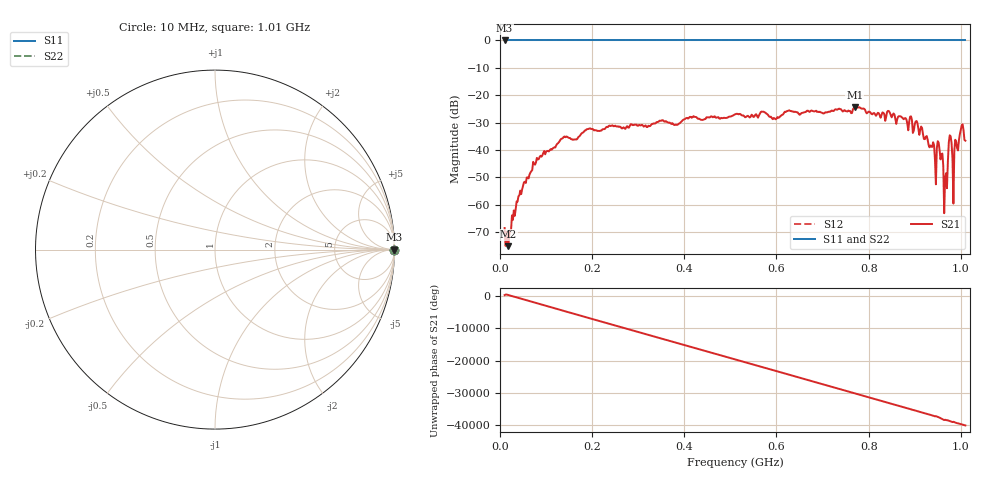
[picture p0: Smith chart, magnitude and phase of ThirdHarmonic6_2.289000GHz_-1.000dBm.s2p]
! 8/17/2025 3:01:38 AM
! C:\ANRITSUVNA\TEMP\TEMP.S2P
! CHANNEL.1
! TR.MEASUREMENT
! RAW.DATA
! RF.CORRECTION.OFF
! AVERAGING.OFF
! IF.BANDWIDTH: 5KHZ
! SWEEPTYPE:  FREQ.SWEEP(Linear)
! Reference Plane Port Info
! PORT:  PORT1  PORT2
! DISTANCE:  0  m  0  m
! TIME:  0  s  0  s
! PHASE.OFFSET:  0  deg.  0  deg.
! LOSS:  0  dB  0  dB
! REF.LOSS:  0  dB  0  dB
! REF.FREQ:  0  Hz  0  Hz
! Power Info
! POWER:  -20  dBm  -20  dBm
! EFF.POWER:  -20  dBm  -20  dBm
! SOURCE.ATTEN:  0  dB  0  dB
! TEST.ATTEN:  0  dB  0  dB
# GHZ S RI R 50.0
! FREQ.GHZ  S11RE  S11IM  S21RE  S21IM  S12RE  S12IM  S22RE  S22IM
!; PortSelection: Port_12
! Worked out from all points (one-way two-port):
!   501 points, 10 MHz to 1.01 GHz, reference 50 ohm
!   highest |S21| = -24.32 dB at 770 MHz (marker M1); lowest = -75.2 dB at 18 MHz (marker M2)
!   lowest |S11| = 0.0 dB at 10 MHz (marker M3)
!   |S11| at or under -10 dB: nowhere
!   |S22| runs from 0.0 to 0.0 dB; largest |S21 - S12| = 1.1
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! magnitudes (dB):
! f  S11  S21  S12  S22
! 10 MHz  0.0  -68.6  0.0  0.0
! 18 MHz  0.0  -75.2  0.0  0.0
! 40 MHz  0.0  -57.0  0.0  0.0
! 76 MHz  0.0  -45.4  0.0  0.0
! 136 MHz  0.0  -35.7  0.0  0.0
! 178 MHz  0.0  -33.8  0.0  0.0
! 344 MHz  0.0  -29.7  0.0  0.0
! 510 MHz  0.0  -27.0  0.0  0.0
! 678 MHz  0.0  -25.8  0.0  0.0
! 770 MHz  0.0  -24.3  0.0  0.0
! 844 MHz  0.0  -25.8  0.0  0.0
! 904 MHz  0.0  -29.4  0.0  0.0
! 938 MHz  0.0  -38.9  0.0  0.0
! 942 MHz  0.0  -38.2  0.0  0.0
! 952 MHz  0.0  -37.4  0.0  0.0
! 958 MHz  0.0  -41.6  0.0  0.0
! 966 MHz  0.0  -50.3  0.0  0.0
! 968 MHz  0.0  -48.5  0.0  0.0
! 976 MHz  0.0  -34.7  0.0  0.0
! 984 MHz  0.0  -59.6  0.0  0.0
! 1.002 GHz  0.0  -31.0  0.0  0.0
! 1.01 GHz  0.0  -36.6  0.0  0.0
